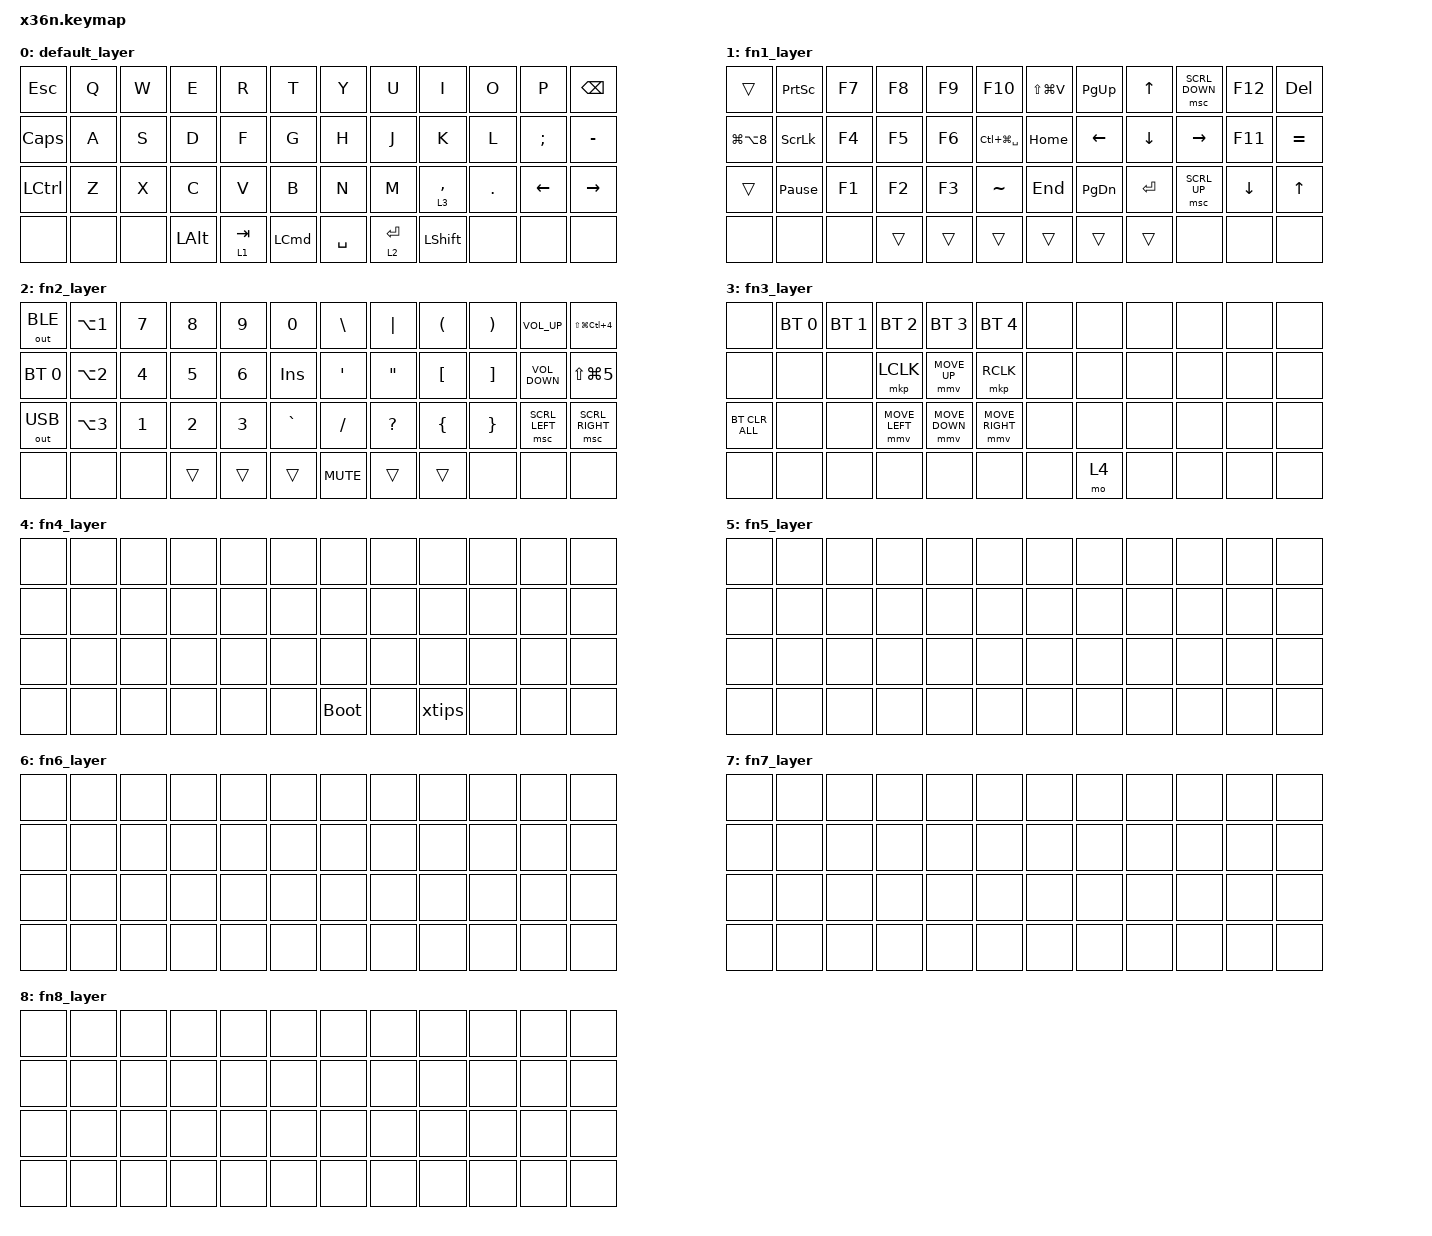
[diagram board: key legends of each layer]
/*
 * Copyright (c) 2020 The ZMK Contributors
 *
 * SPDX-License-Identifier: MIT
 */

#include <dt-bindings/zmk/mouse.h>
#include <behaviors.dtsi>
#include <dt-bindings/zmk/bt.h>
#include <dt-bindings/zmk/keys.h>
#include <dt-bindings/zmk/outputs.h>
#include <dt-bindings/zmk/pointing.h>

/ {
    macros {
        xtips: xtips {
            compatible = "zmk,behavior-macro";
            label = "XTIPS";
            #binding-cells = <0>;
            bindings = <&kp LS(X) &kp KP_DOT &kp LS(T) &kp I &kp P &kp S>;
            wait-ms = <1>;
            tap-ms = <1>;
        };
    };

    keymap0: keymap {
        compatible = "zmk,keymap";

        default_layer {
            bindings = <
&kp ESC           &kp Q  &kp W  &kp E         &kp R      &kp T             &kp Y      &kp U        &kp I           &kp O    &kp P     &kp BSPC
&kp CAPS          &kp A  &kp S  &kp D         &kp F      &kp G             &kp H      &kp J        &kp K           &kp L    &kp SEMI  &kp MINUS
&kp LEFT_CONTROL  &kp Z  &kp X  &kp C         &kp V      &kp B             &kp N      &kp M        &lt 3 COMMA     &kp DOT  &kp LEFT  &kp RIGHT
&none             &none  &none  &kp LEFT_ALT  &lt 1 TAB  &kp LEFT_COMMAND  &kp SPACE  &lt 2 ENTER  &kp LEFT_SHIFT  &none    &none     &none
            >;
        };

        fn1_layer {
            bindings = <
&trans          &kp PRINTSCREEN  &kp F7  &kp F8  &kp F9  &kp F10            &kp LS(LG(V))  &kp PAGE_UP     &kp UP_ARROW  &msc SCRL_DOWN   &kp F12   &kp DELETE
&kp LG(LA(N8))  &kp SCROLLLOCK   &kp F4  &kp F5  &kp F6  &kp LC(LG(SPACE))  &kp HOME       &kp LEFT_ARROW  &kp DOWN      &kp RIGHT_ARROW  &kp F11   &kp EQUAL
&trans          &kp PAUSE_BREAK  &kp F1  &kp F2  &kp F3  &kp TILDE          &kp END        &kp PAGE_DOWN   &kp ENTER     &msc SCRL_UP     &kp DOWN  &kp UP_ARROW
&none           &none            &none   &trans  &trans  &trans             &trans         &trans          &trans        &none            &none     &none
            >;
        };

        fn2_layer {
            bindings = <
&out OUT_BLE  &kp LA(N1)  &kp N7  &kp N8  &kp N9  &kp N0      &kp BACKSLASH  &kp PIPE           &kp LEFT_PARENTHESIS  &kp RIGHT_PARENTHESIS  &kp C_VOLUME_UP    &kp LS(LG(LC(N4)))
&bt BT_SEL 0  &kp LA(N2)  &kp N4  &kp N5  &kp N6  &kp INSERT  &kp SQT        &kp DOUBLE_QUOTES  &kp LEFT_BRACKET      &kp RIGHT_BRACKET      &kp C_VOLUME_DOWN  &kp LS(LG(N5))
&out OUT_USB  &kp LA(N3)  &kp N1  &kp N2  &kp N3  &kp GRAVE   &kp SLASH      &kp QUESTION       &kp LEFT_BRACE        &kp RIGHT_BRACE        &msc SCRL_LEFT     &msc SCRL_RIGHT
&none         &none       &none   &trans  &trans  &trans      &kp K_MUTE     &trans             &trans                &none                  &none              &none
            >;
        };

        fn3_layer {
            bindings = <
&none           &bt BT_SEL 0  &bt BT_SEL 1  &bt BT_SEL 2    &bt BT_SEL 3    &bt BT_SEL 4     &none  &none  &none  &none  &none  &none
&none           &none         &none         &mkp LCLK       &mmv MOVE_UP    &mkp RCLK        &none  &none  &none  &none  &none  &none
&bt BT_CLR_ALL  &none         &none         &mmv MOVE_LEFT  &mmv MOVE_DOWN  &mmv MOVE_RIGHT  &none  &none  &none  &none  &none  &none
&none           &none         &none         &none           &none           &none            &none  &mo 4  &none  &none  &none  &none
            >;
        };

        fn4_layer {
            bindings = <
&none  &none  &none  &none  &none  &none  &none        &none  &none   &none  &none  &none
&none  &none  &none  &none  &none  &none  &none        &none  &none   &none  &none  &none
&none  &none  &none  &none  &none  &none  &none        &none  &none   &none  &none  &none
&none  &none  &none  &none  &none  &none  &bootloader  &none  &xtips  &none  &none  &none
            >;
        };

        fn5_layer {
            bindings = <
&none  &none  &none  &none  &none  &none  &none  &none  &none  &none  &none  &none
&none  &none  &none  &none  &none  &none  &none  &none  &none  &none  &none  &none
&none  &none  &none  &none  &none  &none  &none  &none  &none  &none  &none  &none
&none  &none  &none  &none  &none  &none  &none  &none  &none  &none  &none  &none
            >;
        };

        fn6_layer {
            bindings = <
&none  &none  &none  &none  &none  &none  &none  &none  &none  &none  &none  &none
&none  &none  &none  &none  &none  &none  &none  &none  &none  &none  &none  &none
&none  &none  &none  &none  &none  &none  &none  &none  &none  &none  &none  &none
&none  &none  &none  &none  &none  &none  &none  &none  &none  &none  &none  &none
            >;
        };

        fn7_layer {
            bindings = <
&none  &none  &none  &none  &none  &none  &none  &none  &none  &none  &none  &none
&none  &none  &none  &none  &none  &none  &none  &none  &none  &none  &none  &none
&none  &none  &none  &none  &none  &none  &none  &none  &none  &none  &none  &none
&none  &none  &none  &none  &none  &none  &none  &none  &none  &none  &none  &none
            >;
        };

        fn8_layer {
            bindings = <
&none  &none  &none  &none  &none  &none  &none  &none  &none  &none  &none  &none
&none  &none  &none  &none  &none  &none  &none  &none  &none  &none  &none  &none
&none  &none  &none  &none  &none  &none  &none  &none  &none  &none  &none  &none
&none  &none  &none  &none  &none  &none  &none  &none  &none  &none  &none  &none
            >;
        };
    };
};
